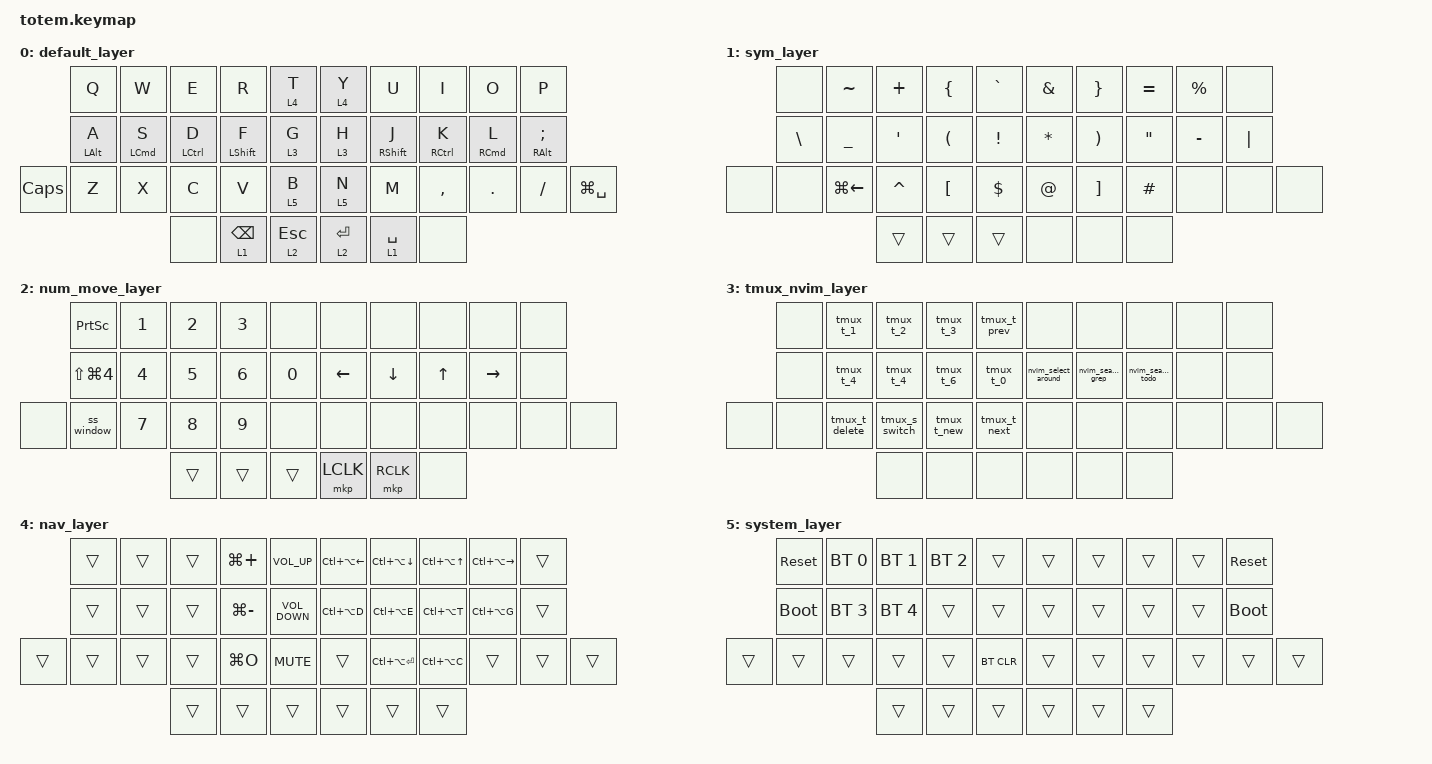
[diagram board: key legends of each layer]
//
//                                                        ▀▀▀▀▀     ▀▀▀▀▀          ▀▀█▀▀
//                                                        ▄▀▀▀▄  ▄  ▄▀▀▀▄  ▄  ▄▀▀▀▄  █  ▄▀▀▀▄
//                                                        █   █  █  █   █  █  █   █  █  █   █
//                                                         ▀▀▀   █   ▀▀▀   █   ▀▀▀   ▀   ▀▀▀
//                                                               █      ▄▄▄█▄▄▄    █   █  
//                                                               ▀      █  █  █     █▄█
//                                                             ▀▀▀▀▀    █  █  █      ▀
//                                                                      ▀  ▀  ▀
//
// ▄▄▄▄▄▄▄▄▄▄▄▄▄▄▄▄▄▄▄▄▄▄▄▄▄▄▄▄▄▄▄▄▄▄▄▄▄▄▄▄▄▄▄▄▄▄▄▄▄▄▄▄▄▄▄▄▄▄▄▄▄▄▄▄▄▄▄▄▄▄▄▄▄▄▄▄▄▄▄▄▄▄▄▄▄▄▄▄▄▄▄▄▄▄▄▄▄▄▄▄▄▄▄▄▄▄▄▄▄▄▄▄▄▄▄▄▄▄▄▄▄▄▄▄▄▄▄▄▄▄▄▄▄▄▄▄▄▄▄▄▄▄▄▄▄▄▄▄▄

#include <behaviors.dtsi>
#include <dt-bindings/zmk/bt.h>
#include <dt-bindings/zmk/keys.h>
#include <dt-bindings/zmk/pointing.h>

&lt {
    tapping-term-ms = <250>;
    quick-tap-ms = <175>;
    require-prior-idle-ms = <150>;
    flavor = "balanced";
};

/ {
    combos {
        compatible = "zmk,combos";

        tab {
            bindings = <&kp TAB>;
            key-positions = <2 3>;
        };

        start {
            bindings = <&kp NUMBER_0>;
            key-positions = <4 3>;
        };

        end {
            bindings = <&kp LG(DOLLAR)>;
            key-positions = <5 6>;
        };

        grave {
            bindings = <&kp GRAVE>;
            key-positions = <6 7>;
        };
    };

    behaviors {
        hm_l: hold_tap_l {
            compatible = "zmk,behavior-hold-tap";
            label = "HM_L";
            bindings = <&kp>, <&kp>;

            #binding-cells = <2>;
            tapping-term-ms = <250>;
            quick-tap-ms = <80>;
            require-prior-idle-ms = <0>;
            flavor = "balanced";
            retro-tap;
        };

        hm_r: hold_tap_r {
            compatible = "zmk,behavior-hold-tap";
            label = "HM_R";
            bindings = <&kp>, <&kp>;

            #binding-cells = <2>;
            tapping-term-ms = <250>;
            quick-tap-ms = <80>;
            require-prior-idle-ms = <0>;
            flavor = "balanced";
            retro-tap;
        };
    };

    macros {
        ss_window: ss_window {
            compatible = "zmk,behavior-macro";
            #binding-cells = <0>;
            bindings = <&kp LS(LG(NUMBER_4)) &kp SPACE>;
            label = "SS_WINDOW";
        };

        tmux_t_0: tmux_t_0 {
            compatible = "zmk,behavior-macro";
            #binding-cells = <0>;
            bindings = <&kp LC(B) &kp NUMBER_0>;
            label = "TMUX_T_0";
        };

        tmux_t_1: tmux_t_1 {
            compatible = "zmk,behavior-macro";
            #binding-cells = <0>;
            bindings = <&kp LC(B) &kp NUMBER_1>;
            label = "TMUX_T_1";
        };

        tmux_t_2: tmux_t_2 {
            compatible = "zmk,behavior-macro";
            #binding-cells = <0>;
            bindings = <&kp LC(B) &kp NUMBER_2>;
            label = "TMUX_T_2";
        };

        tmux_t_3: tmux_t_3 {
            compatible = "zmk,behavior-macro";
            #binding-cells = <0>;
            bindings = <&kp LC(B) &kp NUMBER_3>;
            label = "TMUX_T_3";
        };

        tmux_t_4: tmux_t_4 {
            compatible = "zmk,behavior-macro";
            #binding-cells = <0>;
            bindings = <&kp LC(B) &kp NUMBER_4>;
            label = "TMUX_T_4";
        };

        tmux_t_5: tmux_t_5 {
            compatible = "zmk,behavior-macro";
            #binding-cells = <0>;
            bindings = <&kp LC(B) &kp NUMBER_5>;
            label = "TMUX_T_5";
        };

        tmux_t_6: tmux_t_6 {
            compatible = "zmk,behavior-macro";
            #binding-cells = <0>;
            bindings = <&kp LC(B) &kp NUMBER_6>;
            label = "TMUX_T_6";
        };

        tmux_t_prev: tmux_t_prev {
            compatible = "zmk,behavior-macro";
            #binding-cells = <0>;
            bindings = <&kp LC(B) &kp P>;
            label = "TMUX_T_PREV";
        };

        tmux_t_next: tmux_t_next {
            compatible = "zmk,behavior-macro";
            #binding-cells = <0>;
            bindings = <&kp LC(B) &kp N>;
            label = "TMUX_T_NEXT";
        };

        tmux_t_new: tmux_t_new {
            compatible = "zmk,behavior-macro";
            #binding-cells = <0>;
            bindings = <&kp LC(B) &kp C>;
            label = "TMUX_T_NEW";
        };

        tmux_s_switch: tmux_s_switch {
            compatible = "zmk,behavior-macro";
            #binding-cells = <0>;
            bindings = <&kp LC(B) &kp S>;
            label = "TMUX_S_SWITCH";
        };

        tmux_t_delete: tmux_t_delete {
            compatible = "zmk,behavior-macro";
            #binding-cells = <0>;
            bindings = <&kp LC(B) &kp AMPERSAND>;
            label = "TMUX_T_DELETE";
        };

        nvim_search_grep: nvim_search_grep {
            compatible = "zmk,behavior-macro";
            #binding-cells = <0>;
            bindings = <&kp SPACE &kp S &kp LS(G)>;
            label = "NVIM_SEARCH_GREP";
        };

        nvim_search_todo: nvim_search_todo {
            compatible = "zmk,behavior-macro";
            #binding-cells = <0>;
            bindings = <&kp SPACE &kp S &kp LS(T)>;
            label = "NVIM_SEARCH_TODO";
        };

        nvim_select_around: nvim_select_around {
            compatible = "zmk,behavior-macro";
            #binding-cells = <0>;
            bindings = <&kp V &kp I &kp W &kp G &kp S &kp A>;
            label = "NVIM_SELECT_AROUND";
        };
    };

    keymap {
        compatible = "zmk,keymap";

        default_layer {
            bindings = <
          &kp Q             &kp W                 &kp E                 &kp R               &lt 4 T      &lt 4 Y      &kp U                &kp I                  &kp O                  &kp P
          &hm_l LEFT_ALT A  &hm_l LEFT_COMMAND S  &hm_l LEFT_CONTROL D  &hm_l LEFT_SHIFT F  &lt 3 G      &lt 3 H      &hm_r RIGHT_SHIFT J  &hm_r RIGHT_CONTROL K  &hm_r RIGHT_COMMAND L  &hm_r RIGHT_ALT SEMICOLON
&kp CAPS  &kp Z             &kp X                 &kp C                 &kp V               &lt 5 B      &lt 5 N      &kp M                &kp COMMA              &kp DOT                &kp FSLH                   &kp LG(SPACE)
                                                  &none                 &lt 1 BACKSPACE     &lt 2 ESC    &lt 2 ENTER  &lt 1 SPACE          &none
            >;
        };

        sym_layer {
            bindings = <
       &none          &kp TILDE       &kp PLUS          &kp LEFT_BRACE        &kp GRAVE          &kp AMPERSAND  &kp RIGHT_BRACE        &kp EQUAL          &kp PERCENT  &none
       &kp BACKSLASH  &kp UNDERSCORE  &kp SINGLE_QUOTE  &kp LEFT_PARENTHESIS  &kp EXCLAMATION    &kp ASTERISK   &kp RIGHT_PARENTHESIS  &kp DOUBLE_QUOTES  &kp MINUS    &kp PIPE
&none  &none          &kp LG(LEFT)    &kp CARET         &kp LEFT_BRACKET      &kp DOLLAR         &kp AT_SIGN    &kp RIGHT_BRACKET      &kp POUND          &none        &none     &none
                                      &trans            &trans                &trans             &none          &none                  &none
            >;
        };

        num_move_layer {
            bindings = <
       &kp PRINTSCREEN       &kp NUMBER_1  &kp NUMBER_2  &kp NUMBER_3  &none           &none           &none           &none         &none      &none
       &kp LS(LG(NUMBER_4))  &kp NUMBER_4  &kp NUMBER_5  &kp NUMBER_6  &kp NUMBER_0    &kp LEFT_ARROW  &kp DOWN_ARROW  &kp UP_ARROW  &kp RIGHT  &none
&none  &ss_window            &kp NUMBER_7  &kp NUMBER_8  &kp NUMBER_9  &none           &none           &none           &none         &none      &none  &none
                                           &trans        &trans        &trans          &mkp LCLK       &mkp RCLK       &none
            >;
        };

        tmux_nvim_layer {
            bindings = <
       &none  &tmux_t_1       &tmux_t_2       &tmux_t_3    &tmux_t_prev    &none                &none              &none              &none  &none
       &none  &tmux_t_4       &tmux_t_4       &tmux_t_6    &tmux_t_0       &nvim_select_around  &nvim_search_grep  &nvim_search_todo  &none  &none
&none  &none  &tmux_t_delete  &tmux_s_switch  &tmux_t_new  &tmux_t_next    &none                &none              &none              &none  &none  &none
                              &none           &none        &none           &none                &none              &none
            >;
        };

        nav_layer {
            bindings = <
        &trans  &trans  &trans  &kp LG(PLUS)   &kp C_VOLUME_UP      &kp LC(LA(LEFT_ARROW))  &kp LC(LA(DOWN_ARROW))  &kp LC(LA(UP_ARROW))  &kp LC(LA(RIGHT))  &trans
        &trans  &trans  &trans  &kp LG(MINUS)  &kp C_VOLUME_DOWN    &kp LC(LA(D))           &kp LC(LA(E))           &kp LC(LA(T))         &kp LC(LA(G))      &trans
&trans  &trans  &trans  &trans  &kp LG(O)      &kp C_MUTE           &trans                  &kp LC(LA(ENTER))       &kp LC(LA(C))         &trans             &trans  &trans
                        &trans  &trans         &trans               &trans                  &trans                  &trans
            >;
        };

        system_layer {
            bindings = <
        &sys_reset   &bt BT_SEL 0  &bt BT_SEL 1  &bt BT_SEL 2  &trans        &trans  &trans  &trans  &trans  &sys_reset
        &bootloader  &bt BT_SEL 3  &bt BT_SEL 4  &trans        &trans        &trans  &trans  &trans  &trans  &bootloader
&trans  &trans       &trans        &trans        &trans        &bt BT_CLR    &trans  &trans  &trans  &trans  &trans       &trans
                                   &trans        &trans        &trans        &trans  &trans  &trans
            >;
        };
    };

    conditional_layers { compatible = "zmk,conditional-layers"; };
};
